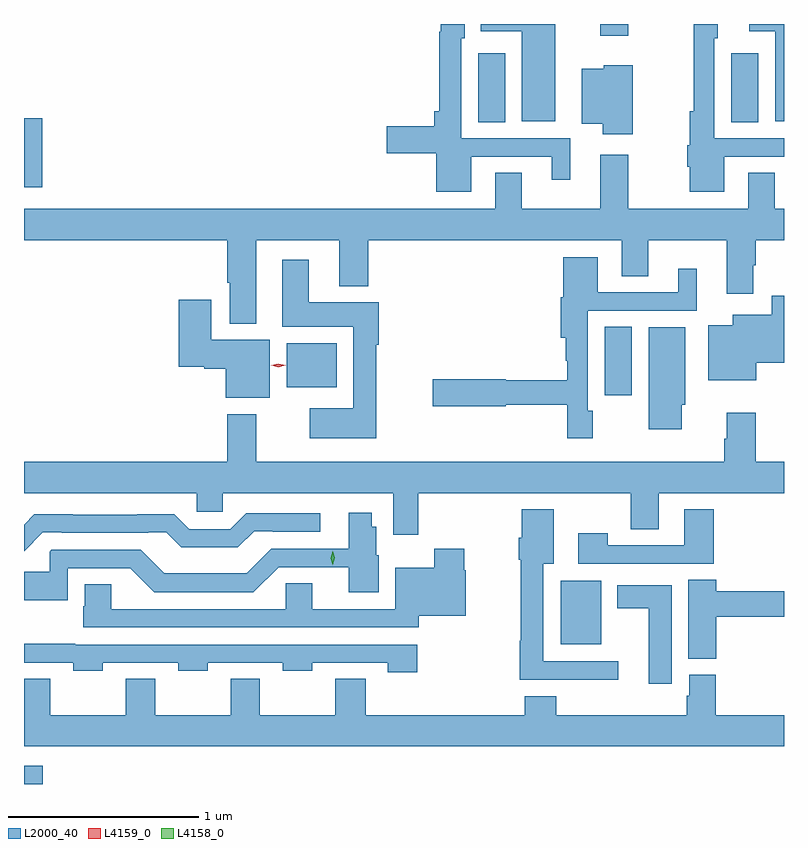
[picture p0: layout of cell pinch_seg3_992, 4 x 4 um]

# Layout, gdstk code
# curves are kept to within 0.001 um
import gdstk
lib = gdstk.Library(unit=1e-6, precision=1e-09)
def R(c, l, rs):  # rectangles x0, y0, x1, y1
    for r in rs: c.add(gdstk.rectangle(r[:2], r[2:], *l))
def P(c, l, *ps):  # polygons
    for p in ps: c.add(gdstk.Polygon(p, *l))
L2000_40 = (2000, 40)
L4158_0 = (4158, 0)
L4159_0 = (4159, 0)

pinch_seg3_992 = lib.new_cell('pinch_seg3_992')
R(pinch_seg3_992, L2000_40, [(406.275,684.733,406.373,684.829), (409.1,685.469,409.312,685.804), (409.331,686.778,409.474,687.14), (407.657,686.822,407.92,687.052), (406.275,687.875,406.372,688.237), (408.665,688.216,408.808,688.579), (409.997,688.216,410.14,688.579), (409.307,688.671,409.455,688.733)])
P(pinch_seg3_992, L2000_40, [(410.275,688.733),(410.091,688.733),(410.091,688.694),(410.228,688.694),(410.228,688.22),(410.275,688.22)],
  [(408.628,688.035),(409.052,688.035),(409.052,687.912),(409.15,687.912),(409.15,688.131),(408.576,688.131),(408.576,688.659),(408.595,688.659),(408.595,688.733),(408.468,688.733),(408.468,688.691),(408.46,688.691),(408.46,688.273),(408.434,688.273),(408.434,688.196),(408.183,688.196),(408.183,688.054),(408.446,688.054),(408.446,687.851),(408.628,687.851)],
  [(409.96,688.035),(410.275,688.035),(410.275,688.131),(409.908,688.131),(409.908,688.659),(409.927,688.659),(409.927,688.733),(409.8,688.733),(409.8,688.273),(409.778,688.273),(409.778,688.095),(409.766,688.095),(409.766,687.981),(409.778,687.981),(409.778,687.851),(409.96,687.851)],
  [(409.072,688.733),(408.68,688.733),(408.68,688.694),(408.896,688.694),(408.896,688.22),(409.072,688.22)],
  [(409.48,688.516),(409.326,688.516),(409.326,688.498),(409.211,688.498),(409.211,688.208),(409.322,688.208),(409.322,688.154),(409.48,688.154)],
  [(407.497,687.596),(407.933,687.596),(407.933,687.353),(408.086,687.353),(408.086,687.596),(409.421,687.596),(409.421,687.406),(409.561,687.406),(409.561,687.596),(409.973,687.596),(409.973,687.312),(410.113,687.312),(410.113,687.462),(410.126,687.462),(410.126,687.596),(410.275,687.596),(410.275,687.76),(410.227,687.76),(410.227,687.95),(410.087,687.95),(410.087,687.76),(409.455,687.76),(409.455,688.045),(409.307,688.045),(409.307,687.76),(408.895,687.76),(408.895,687.95),(408.755,687.95),(408.755,687.76),(406.275,687.76),(406.275,687.596),(407.345,687.596),(407.345,687.37),(407.357,687.37),(407.357,687.155),(407.497,687.155)],
  [(409.269,686.697),(409.242,686.697),(409.242,687.225),(409.816,687.225),(409.816,687.445),(409.718,687.445),(409.718,687.321),(409.294,687.321),(409.294,687.505),(409.112,687.505),(409.112,687.294),(409.1,687.294),(409.1,687.083),(409.126,687.083),(409.126,686.961),(409.134,686.961),(409.134,686.858),(408.81,686.858),(408.81,686.864),(408.426,686.864),(408.426,686.722),(408.81,686.722),(408.81,686.73),(409.134,686.73),(409.134,686.553),(409.269,686.553)],
  [(408.13,687.044),(408.143,687.044),(408.143,687.268),(407.773,687.268),(407.773,687.493),(407.633,687.493),(407.633,687.14),(408.008,687.14),(408.008,686.71),(407.778,686.71),(407.778,686.552),(408.13,686.552)],
  [(410.128,686.951),(410.275,686.951),(410.275,687.304),(410.21,687.304),(410.21,687.202),(410.006,687.202),(410.006,687.148),(409.877,687.148),(409.877,686.858),(410.128,686.858)],
  [(407.569,687.07),(407.26,687.07),(407.26,687.283),(407.09,687.283),(407.09,686.93),(407.223,686.93),(407.223,686.918),(407.336,686.918),(407.336,686.765),(407.569,686.765)],
  [(409.738,686.73),(409.756,686.73),(409.756,687.136),(409.562,687.136),(409.562,686.6),(409.738,686.6)],
  [(408.35,686.264),(409.468,686.264),(409.468,686.074),(409.615,686.074),(409.615,686.264),(410.275,686.264),(410.275,686.428),(410.126,686.428),(410.126,686.686),(409.973,686.686),(409.973,686.549),(409.961,686.549),(409.961,686.428),(407.497,686.428),(407.497,686.68),(407.345,686.68),(407.345,686.428),(406.275,686.428),(406.275,686.264),(407.184,686.264),(407.184,686.166),(407.322,686.166),(407.322,686.264),(408.218,686.264),(408.218,686.046),(408.35,686.046)],
  [(409.904,686.179),(409.751,686.179),(409.751,685.989),(409.347,685.989),(409.347,686.053),(409.191,686.053),(409.191,685.893),(409.904,685.893)],
  [(409.402,685.38),(409.009,685.38),(409.009,685.892),(409.063,685.892),(409.063,686.179),(408.896,686.179),(408.896,686.028),(408.878,686.028),(408.878,685.914),(408.889,685.914),(408.889,685.487),(408.884,685.487),(408.884,685.283),(409.402,685.283)],
  [(406.506,685.869),(406.833,685.869),(406.96,685.742),(407.482,685.742),(407.615,685.875),(407.984,685.875),(407.984,685.742),(408.142,685.742),(408.142,685.938),(408.13,685.938),(408.13,686.088),(408.106,686.088),(408.106,686.161),(407.984,686.161),(407.984,685.971),(407.577,685.971),(407.448,685.842),(407.013,685.842),(406.89,685.965),(406.419,685.965),(406.41,685.956),(406.41,685.849),(406.275,685.849),(406.275,685.7),(406.506,685.7)],
  [(406.374,686.058),(406.474,686.058),(406.474,686.055),(406.928,686.055),(406.928,686.058),(407.023,686.058),(407.103,685.979),(407.401,685.979),(407.486,686.064),(407.584,686.064),(407.584,686.061),(407.833,686.061),(407.833,686.157),(407.445,686.157),(407.361,686.073),(407.145,686.073),(407.066,686.152),(406.33,686.152),(406.275,686.097),(406.275,685.959)],
  [(408.352,685.619),(408.6,685.619),(408.6,685.859),(408.592,685.859),(408.592,685.972),(408.434,685.972),(408.434,685.87),(408.23,685.87),(408.23,685.653),(407.791,685.653),(407.791,685.789),(407.653,685.789),(407.653,685.653),(406.735,685.653),(406.735,685.784),(406.595,685.784),(406.595,685.668),(406.588,685.668),(406.588,685.557),(408.352,685.557)],
  [(409.919,685.612),(410.275,685.612),(410.275,685.748),(409.919,685.748),(409.919,685.808),(409.772,685.808),(409.772,685.393),(409.919,685.393)],
  [(409.684,685.78),(409.397,685.78),(409.397,685.658),(409.562,685.658),(409.562,685.26),(409.684,685.26)],
  [(408.346,685.467),(406.545,685.467),(406.545,685.47),(406.275,685.47),(406.275,685.371),(406.534,685.371),(406.534,685.328),(406.689,685.328),(406.689,685.371),(407.086,685.371),(407.086,685.328),(407.241,685.328),(407.241,685.371),(407.638,685.371),(407.638,685.328),(407.793,685.328),(407.793,685.371),(408.19,685.371),(408.19,685.32),(408.346,685.32)],
  [(410.275,685.096),(409.916,685.096),(409.916,685.308),(409.775,685.308),(409.775,685.197),(409.763,685.197),(409.763,685.096),(409.076,685.096),(409.076,685.195),(408.911,685.195),(408.911,685.096),(408.074,685.096),(408.074,685.286),(407.914,685.286),(407.914,685.096),(407.517,685.096),(407.517,685.286),(407.362,685.286),(407.362,685.096),(406.965,685.096),(406.965,685.286),(406.81,685.286),(406.81,685.096),(406.413,685.096),(406.413,685.286),(406.275,685.286),(406.275,684.932),(410.275,684.932)])
P(pinch_seg3_992, L4158_0, [(407.901,685.886),(407.901,685.886),(407.89,685.922),(407.899,685.958),(407.899,685.959),(407.899,685.958),(407.91,685.923),(407.901,685.886)])
P(pinch_seg3_992, L4159_0, [(407.614,686.926),(407.575,686.936),(407.575,686.936),(407.575,686.937),(407.614,686.946),(407.652,686.937),(407.652,686.936),(407.652,686.936)])

lib.write_gds('pinch_seg3_992.gds')
